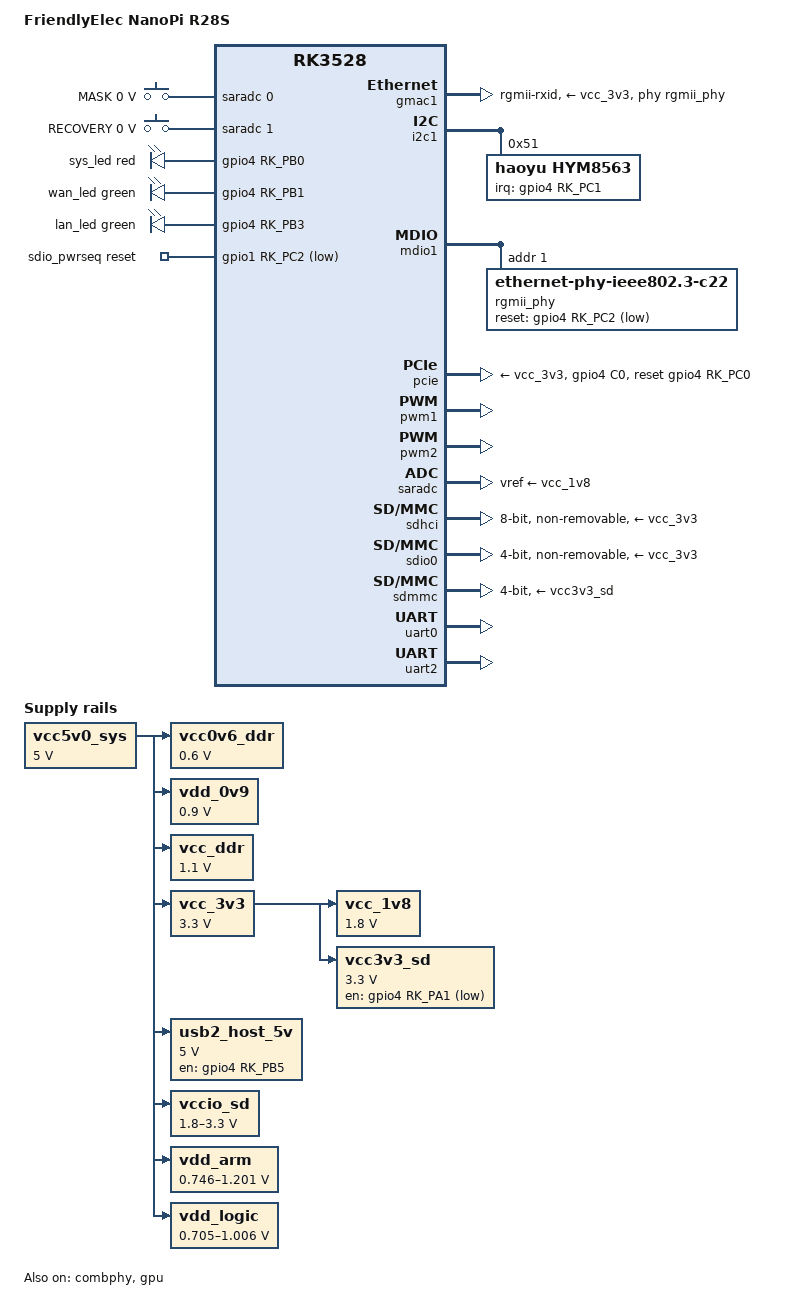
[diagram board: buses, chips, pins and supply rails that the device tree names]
// SPDX-License-Identifier: (GPL-2.0+ OR MIT)
/*
 * Copyright (c) 2022 Rockchip Electronics Co., Ltd.
 * Copyright (c) 2026 FriendlyElec Computer Tech. Co., Ltd.
 *
 * FriendlyElec NanoPi R28S (Rockchip RK3528A, quad Cortex-A53):
 *   - 1x GbE via SoC gmac1 + Realtek RTL8211F (RGMII, rgmii-rxid + tx_delay)
 *   - 1x GbE via PCIe 2.0 x1 + Realtek RTL8111H
 *   - AIC8800 SDIO WiFi (sdio0) + Bluetooth (UART2)
 *   - eMMC (HS200) / microSD
 *
 * Derived from the upstream rk3528-nanopi-zero2.dts: the R28S is the same
 * SoC and vendor generation as the NanoPi Zero2 and shares its power tree
 * (no PMIC at all, only fixed + PWM regulators). The differences are the
 * second (PCIe) NIC, the AIC8800 SDIO WiFi, a third (LAN) LED and the
 * RTL8211F RGMII delays.
 */

/dts-v1/;

#include <dt-bindings/input/input.h>
#include <dt-bindings/leds/common.h>
#include <dt-bindings/pwm/pwm.h>
#include "rk3528.dtsi"

/ {
	model = "FriendlyElec NanoPi R28S";
	compatible = "friendlyarm,nanopi-r28s", "rockchip,rk3528";

	aliases {
		ethernet0 = &gmac1;
		i2c1 = &i2c1;
		mmc0 = &sdhci;
		mmc1 = &sdmmc;
		mmc2 = &sdio0;
		serial0 = &uart0;
		serial2 = &uart2;
	};

	chosen {
		stdout-path = "serial0:1500000n8";
	};

	adc-keys-0 {
		compatible = "adc-keys";
		io-channels = <&saradc 0>;
		io-channel-names = "buttons";
		keyup-threshold-microvolt = <1800000>;
		poll-interval = <100>;

		button-maskrom {
			label = "MASK";
			linux,code = <KEY_SETUP>;
			press-threshold-microvolt = <0>;
		};
	};

	adc-keys-1 {
		compatible = "adc-keys";
		io-channels = <&saradc 1>;
		io-channel-names = "buttons";
		keyup-threshold-microvolt = <1800000>;
		poll-interval = <100>;

		button-recovery {
			label = "RECOVERY";
			linux,code = <KEY_VENDOR>;
			press-threshold-microvolt = <0>;
		};
	};

	leds {
		compatible = "gpio-leds";
		pinctrl-names = "default";
		pinctrl-0 = <&led_sys>, <&led1>, <&lan_led_g>;

		led-0 {
			color = <LED_COLOR_ID_RED>;
			function = LED_FUNCTION_HEARTBEAT;
			gpios = <&gpio4 RK_PB0 GPIO_ACTIVE_HIGH>;
			label = "sys_led";
			linux,default-trigger = "heartbeat";
		};

		led-1 {
			color = <LED_COLOR_ID_GREEN>;
			default-state = "off";
			function = LED_FUNCTION_WAN;
			gpios = <&gpio4 RK_PB1 GPIO_ACTIVE_HIGH>;
			label = "wan_led";
			linux,default-trigger = "netdev";
		};

		led-2 {
			color = <LED_COLOR_ID_GREEN>;
			default-state = "off";
			function = LED_FUNCTION_LAN;
			gpios = <&gpio4 RK_PB3 GPIO_ACTIVE_HIGH>;
			label = "lan_led";
			linux,default-trigger = "netdev";
		};
	};

	sdio_pwrseq: sdio-pwrseq {
		compatible = "mmc-pwrseq-simple";
		pinctrl-names = "default";
		pinctrl-0 = <&wifi_enable_h>;
		post-power-on-delay-ms = <100>;
		reset-gpios = <&gpio1 RK_PC2 GPIO_ACTIVE_LOW>;
	};

	vcc0v6_ddr: regulator-0v6-vcc-ddr {
		compatible = "regulator-fixed";
		regulator-name = "vcc0v6_ddr";
		regulator-always-on;
		regulator-boot-on;
		regulator-min-microvolt = <600000>;
		regulator-max-microvolt = <600000>;
		vin-supply = <&vcc5v0_sys>;
	};

	vdd_0v9: regulator-0v9-vdd {
		compatible = "regulator-fixed";
		regulator-name = "vdd_0v9";
		regulator-always-on;
		regulator-boot-on;
		regulator-min-microvolt = <900000>;
		regulator-max-microvolt = <900000>;
		vin-supply = <&vcc5v0_sys>;
	};

	vcc_ddr: regulator-1v1-vcc-ddr {
		compatible = "regulator-fixed";
		regulator-name = "vcc_ddr";
		regulator-always-on;
		regulator-boot-on;
		regulator-min-microvolt = <1100000>;
		regulator-max-microvolt = <1100000>;
		vin-supply = <&vcc5v0_sys>;
	};

	vcc_1v8: regulator-1v8-vcc {
		compatible = "regulator-fixed";
		regulator-name = "vcc_1v8";
		regulator-always-on;
		regulator-boot-on;
		regulator-min-microvolt = <1800000>;
		regulator-max-microvolt = <1800000>;
		vin-supply = <&vcc_3v3>;
	};

	vcc_3v3: regulator-3v3-vcc {
		compatible = "regulator-fixed";
		regulator-name = "vcc_3v3";
		regulator-always-on;
		regulator-boot-on;
		regulator-min-microvolt = <3300000>;
		regulator-max-microvolt = <3300000>;
		vin-supply = <&vcc5v0_sys>;
	};

	vcc3v3_sd: regulator-3v3-vcc-sd {
		compatible = "regulator-fixed";
		gpios = <&gpio4 RK_PA1 GPIO_ACTIVE_LOW>;
		pinctrl-names = "default";
		pinctrl-0 = <&sdmmc_pwren_l>;
		regulator-name = "vcc3v3_sd";
		regulator-min-microvolt = <3300000>;
		regulator-max-microvolt = <3300000>;
		vin-supply = <&vcc_3v3>;
	};

	vcc5v0_sys: regulator-5v0-vcc-sys {
		compatible = "regulator-fixed";
		regulator-name = "vcc5v0_sys";
		regulator-always-on;
		regulator-boot-on;
		regulator-min-microvolt = <5000000>;
		regulator-max-microvolt = <5000000>;
	};

	usb2_host_5v: regulator-5v0-usb2-host {
		compatible = "regulator-fixed";
		enable-active-high;
		gpios = <&gpio4 RK_PB5 GPIO_ACTIVE_HIGH>;
		pinctrl-names = "default";
		pinctrl-0 = <&usb20_host1_pwren>;
		regulator-name = "usb2_host_5v";
		regulator-min-microvolt = <5000000>;
		regulator-max-microvolt = <5000000>;
		vin-supply = <&vcc5v0_sys>;
	};

	vccio_sd: regulator-vccio-sd {
		compatible = "regulator-gpio";
		gpios = <&gpio4 RK_PB6 GPIO_ACTIVE_HIGH>;
		pinctrl-names = "default";
		pinctrl-0 = <&sdmmc_vol_ctrl_h>;
		regulator-name = "vccio_sd";
		regulator-min-microvolt = <1800000>;
		regulator-max-microvolt = <3300000>;
		states = <1800000 0x0>, <3300000 0x1>;
		vin-supply = <&vcc5v0_sys>;
	};

	vdd_arm: regulator-vdd-arm {
		compatible = "pwm-regulator";
		pwms = <&pwm1 0 5000 PWM_POLARITY_INVERTED>;
		pwm-supply = <&vcc5v0_sys>;
		regulator-name = "vdd_arm";
		regulator-always-on;
		regulator-boot-on;
		regulator-min-microvolt = <746000>;
		regulator-max-microvolt = <1201000>;
		regulator-settling-time-up-us = <250>;
	};

	vdd_logic: regulator-vdd-logic {
		compatible = "pwm-regulator";
		pwms = <&pwm2 0 5000 PWM_POLARITY_INVERTED>;
		pwm-supply = <&vcc5v0_sys>;
		regulator-name = "vdd_logic";
		regulator-always-on;
		regulator-boot-on;
		regulator-min-microvolt = <705000>;
		regulator-max-microvolt = <1006000>;
		regulator-settling-time-up-us = <250>;
	};
};

&cpu0 {
	cpu-supply = <&vdd_arm>;
};

&cpu1 {
	cpu-supply = <&vdd_arm>;
};

&cpu2 {
	cpu-supply = <&vdd_arm>;
};

&cpu3 {
	cpu-supply = <&vdd_arm>;
};

&combphy {
	status = "okay";
};

&gmac1 {
	clock_in_out = "output";
	/* Disable the RX delay inside the SoC; the RTL8211F adds it on the PHY side. */
	phy-mode = "rgmii-rxid";
	phy-handle = <&rgmii_phy>;
	phy-supply = <&vcc_3v3>;
	pinctrl-names = "default";
	pinctrl-0 = <&rgmii_miim>, <&rgmii_tx_bus2>, <&rgmii_rx_bus2>,
		    <&rgmii_rgmii_clk>, <&rgmii_rgmii_bus>, <&eth_pins>;
	tx_delay = <0x30>;
	status = "okay";
};

&gpu {
	mali-supply = <&vdd_logic>;
	status = "okay";
};

&i2c1 {
	pinctrl-names = "default";
	pinctrl-0 = <&i2c1m0_xfer>;
	status = "okay";

	hym8563: rtc@51 {
		compatible = "haoyu,hym8563";
		reg = <0x51>;
		#clock-cells = <0>;
		interrupt-parent = <&gpio4>;
		interrupts = <RK_PC1 IRQ_TYPE_LEVEL_LOW>;
		pinctrl-names = "default";
		pinctrl-0 = <&rtc_int_l>;
		wakeup-source;
	};
};

&mdio1 {
	rgmii_phy: ethernet-phy@1 {
		compatible = "ethernet-phy-ieee802.3-c22";
		reg = <0x1>;
		pinctrl-names = "default";
		pinctrl-0 = <&gmac1_rstn_l>;
		reset-assert-us = <20000>;
		reset-deassert-us = <100000>;
		reset-gpios = <&gpio4 RK_PC2 GPIO_ACTIVE_LOW>;
	};
};

&pcie {
	pinctrl-names = "default";
	/*
	 * Board level group: gpio4 PC0 as a plain GPIO, used as PERST# via
	 * reset-gpios below.  Note the SoC pinctrl.dtsi already owns the label
	 * "pciem1_pins" for the gpio1 PA0/PA1/PA2 func4 group, so this must
	 * carry a different name.
	 */
	pinctrl-0 = <&pcie_eth_perstb>;
	reset-gpios = <&gpio4 RK_PC0 GPIO_ACTIVE_HIGH>;
	vpcie3v3-supply = <&vcc_3v3>;
	status = "okay";
};

&pinctrl {
	ethernet {
		gmac1_rstn_l: gmac1-rstn-l {
			rockchip,pins = <4 RK_PC2 RK_FUNC_GPIO &pcfg_pull_none>;
		};
	};

	leds {
		led1: led1 {
			rockchip,pins = <4 RK_PB1 RK_FUNC_GPIO &pcfg_pull_none>;
		};

		led_sys: led-sys {
			rockchip,pins = <4 RK_PB0 RK_FUNC_GPIO &pcfg_pull_none>;
		};

		lan_led_g: lan-led-g {
			rockchip,pins = <4 RK_PB3 RK_FUNC_GPIO &pcfg_pull_none>;
		};
	};

	pcie {
		pcie_eth_perstb: pcie-eth-perstb {
			rockchip,pins = <4 RK_PC0 RK_FUNC_GPIO &pcfg_pull_none>;
		};
	};

	rtc {
		rtc_int_l: rtc-int-l {
			rockchip,pins = <4 RK_PC1 RK_FUNC_GPIO &pcfg_pull_up>;
		};
	};

	sdio-pwrseq {
		wifi_enable_h: wifi-enable-h {
			rockchip,pins = <1 RK_PC2 RK_FUNC_GPIO &pcfg_pull_none>;
		};
	};

	sdmmc {
		sdmmc_vol_ctrl_h: sdmmc-vol-ctrl-h {
			rockchip,pins = <4 RK_PB6 RK_FUNC_GPIO &pcfg_pull_none>;
		};

		sdmmc_pwren_l: sdmmc-pwren-l {
			rockchip,pins = <4 RK_PA1 RK_FUNC_GPIO &pcfg_pull_none>;
		};
	};

	usb {
		usb20_host1_pwren: usb20-host1-pwren {
			rockchip,pins = <4 RK_PB5 RK_FUNC_GPIO &pcfg_pull_none>;
		};
	};
};

&pwm1 {
	pinctrl-names = "default";
	pinctrl-0 = <&pwm1m0_pins>;
	status = "okay";
};

&pwm2 {
	pinctrl-names = "default";
	pinctrl-0 = <&pwm2m0_pins>;
	status = "okay";
};

&saradc {
	vref-supply = <&vcc_1v8>;
	status = "okay";
};

&sdhci {
	bus-width = <8>;
	cap-mmc-highspeed;
	mmc-hs200-1_8v;
	no-sd;
	no-sdio;
	non-removable;
	vmmc-supply = <&vcc_3v3>;
	vqmmc-supply = <&vcc_1v8>;
	status = "okay";
};

&sdio0 {
	bus-width = <4>;
	cap-sd-highspeed;
	cap-sdio-irq;
	keep-power-in-suspend;
	mmc-pwrseq = <&sdio_pwrseq>;
	no-mmc;
	no-sd;
	non-removable;
	sd-uhs-sdr104;
	vmmc-supply = <&vcc_3v3>;
	vqmmc-supply = <&vcc_1v8>;
	status = "okay";
};

&sdmmc {
	bus-width = <4>;
	cap-mmc-highspeed;
	cap-sd-highspeed;
	disable-wp;
	sd-uhs-sdr104;
	vmmc-supply = <&vcc3v3_sd>;
	vqmmc-supply = <&vccio_sd>;
	status = "okay";
};

&uart0 {
	pinctrl-names = "default";
	pinctrl-0 = <&uart0m0_xfer>;
	status = "okay";
};

&uart2 {
	dma-names = "tx", "rx";
	pinctrl-names = "default";
	pinctrl-0 = <&uart2m1_xfer>, <&uart2m1_ctsn>, <&uart2m1_rtsn>;
	uart-has-rtscts;
	status = "okay";
};
